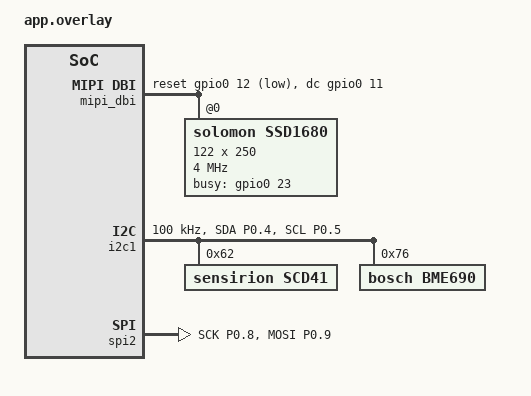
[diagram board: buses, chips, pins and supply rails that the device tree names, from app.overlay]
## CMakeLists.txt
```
cmake_minimum_required(VERSION 4.00)

set(BOARD nrf7002dk/nrf5340/cpuapp) # can be passed as CLI arg -b to west

find_package(Zephyr REQUIRED HINTS $ENV{ZEPHYR_BASE})
project(application)

target_sources(app PRIVATE
    src/wifictl.cpp
    src/sockets.cpp
    src/context.cpp
    src/util.cpp
    src/wifictl.cpp
    src/bme690.cpp
    src/scd41.cpp
    src/main.cpp
)
```

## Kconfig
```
# Copyright 2025 NXP
# SPDX-License-Identifier: Apache-2.0

mainmenu "Network wifi sta_mode application"

config WIFI_SAMPLE_SSID
	string "SSID of the target AP"
	help
	  SSID of the access point to connect to in station mode.
	  For example: "TARGET-AP"

config WIFI_SAMPLE_PSK
	string "Pre-shared key for target AP"
	help
	  WPA2 password used to connect to the target AP.
	  For example: "PSK"

source "Kconfig.zephyr"
```

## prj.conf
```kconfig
# Wi-Fi Configuration
CONFIG_WIFI=y
CONFIG_WIFI_NM=y
CONFIG_WIFI_USAGE_MODE_STA_AP=y

# Network Configuration
CONFIG_NET_CONFIG_AUTO_INIT=n
CONFIG_NET_CONNECTION_MANAGER=y
CONFIG_NET_DHCPV4=y
CONFIG_NET_DHCPV4_SERVER=y
CONFIG_NET_IF_MAX_IPV4_COUNT=2
CONFIG_NET_IF_MAX_IPV6_COUNT=2
CONFIG_NET_IPV4=y
CONFIG_NET_L2_ETHERNET=y
CONFIG_NET_L2_WIFI_MGMT=y
CONFIG_NET_MGMT=y
CONFIG_NET_MGMT_EVENT=y
CONFIG_NET_MGMT_EVENT_INFO=y
CONFIG_NET_MGMT_EVENT_QUEUE_SIZE=10
CONFIG_NET_MGMT_EVENT_STACK_SIZE=4096
CONFIG_NET_PKT_RX_COUNT=16
CONFIG_NET_PKT_TX_COUNT=16
CONFIG_NET_SOCKETS_SERVICE_STACK_SIZE=4096
CONFIG_NET_TCP=y
CONFIG_NET_UDP=y
CONFIG_NETWORKING=y

# BME*** & SCD*** need those
CONFIG_I2C=y
CONFIG_GPIO=y
###CONFIG_SENSOR=y
###CONFIG_SCD4X=y
###CONFIG_BME690=y
CONFIG_CBPRINTF_FP_SUPPORT=y
CONFIG_I2C_SHELL=y

# LOG Configuration
CONFIG_NET_LOG=y
CONFIG_NET_DHCPV4_SERVER_LOG_LEVEL_DBG=y

# Enable display
CONFIG_SPI=y
CONFIG_DISPLAY=y
CONFIG_SSD16XX=y

# Enable Display Subsystem
CONFIG_DISPLAY=y

# Enable SSD16xx driver
CONFIG_SSD16XX=y

CONFIG_MIPI_DBI=y
CONFIG_MIPI_DBI_SPI=y

# CONFIG_CPLUSPLUS=y
CONFIG_HTTP_CLIENT=y

CONFIG_WEBSOCKET_CLIENT=y
```

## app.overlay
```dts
&pinctrl {
    i2c1_default: i2c1_default {
        group1 {
            psels = <NRF_PSEL(TWIM_SDA, 0, 4)>,
                    <NRF_PSEL(TWIM_SCL, 0, 5)>;
            bias-pull-up; 
        };
    };

    i2c1_sleep: i2c1_sleep {
        group1 {
            psels = <NRF_PSEL(TWIM_SDA, 0, 4)>,
                    <NRF_PSEL(TWIM_SCL, 0, 5)>;
            low-power-enable;
        };
    };

    spi2_default: spi2_default {
        group1 {
            psels = <NRF_PSEL(SPIM_SCK, 0, 8)>,
                    <NRF_PSEL(SPIM_MOSI, 0, 9)>;
        };
    };

    spi2_sleep: spi2_sleep {
        group1 {
            psels = <NRF_PSEL(SPIM_SCK, 0, 8)>,
                    <NRF_PSEL(SPIM_MOSI, 0, 9)>;
            low-power-enable;
        };
    };
};

&i2c1 {
    compatible = "nordic,nrf-twim";
    status = "okay";
    clock-frequency = <I2C_BITRATE_STANDARD>;
    pinctrl-0 = <&i2c1_default>;
    pinctrl-1 = <&i2c1_sleep>;
    pinctrl-names = "default", "sleep";

    scd41: scd41@62 {
        compatible = "sensirion,scd41";
        reg = <0x62>;
        label = "SCD41";
        mode = <0>; // Normal periodic measurement
        status = "okay";
    };

    bme690: bme690@76 {
        compatible = "bosch,bme690";
        reg = <0x76>;
        label = "BME690";
// Single TPHG cycle is performed. Sensor automatically returns to sleep mode.
// Gas sensor heater only operates during gas measurement.
        mode = <1>;
        status = "okay";
    };
};


&spi2 {
    compatible = "nordic,nrf-spim";
    status = "okay";
    pinctrl-0 = <&spi2_default>;
    pinctrl-1 = <&spi2_sleep>;
    pinctrl-names = "default", "sleep";

    cs-gpios = <&gpio0 10 GPIO_ACTIVE_LOW>;
};

/ {
    aliases {
        display-controller = &ssd1680;
    };
    chosen {
        zephyr,display = &ssd1680;
    };

    mipi_dbi {
        compatible = "zephyr,mipi-dbi-spi";
        spi-dev = <&spi2>;

        dc-gpios = <&gpio0 11 GPIO_ACTIVE_HIGH>;
        reset-gpios = <&gpio0 12 GPIO_ACTIVE_LOW>;

        #address-cells = <1>;
        #size-cells = <0>;

        ssd1680: ssd1680@0 {
            compatible = "solomon,ssd1680";
            reg = <0>;
            mipi-max-frequency = <4000000>;

            busy-gpios = <&gpio0 23 GPIO_ACTIVE_HIGH>;

            width = <122>;
            height = <250>;
            tssv = <0x80>;
            rotation = <0>;
        };
    };
};
```

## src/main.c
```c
#include "wifictl.h"
#include <zephyr/kernel.h>

//K_THREAD_DEFINE (name, stack_size, entry, p1, p2, p3, prio, options, delay )
K_THREAD_DEFINE (wifictl_id, 4096, wifictl, 1, NULL, NULL, 7, 0, K_TICKS_FOREVER);

int main(void)
{
    int s = wifictl (1);

    k_thread_start (wifictl_id);
	return 0;
}
```

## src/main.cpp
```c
#include "wifictl.hpp"
#include "context.hpp"

#include <zephyr/kernel.h>

#include <stdio.h>
#include <string.h>

#include "net_thread.hpp"
#include "static_string.h"

//K_THREAD_DEFINE (name, stack_size, entry, p1, p2, p3, prio, options, delay )
//K_THREAD_DEFINE (bme690_id, 4096, sys::sensor::BME690::thread, NULL, NULL, NULL, 7, 0, K_TICKS_FOREVER);
K_THREAD_DEFINE (wifictl_id, 4096, sys::wifi::thread, 1, NULL, NULL, 7, 0, K_TICKS_FOREVER);
K_THREAD_DEFINE (net_id, 4096, sys::net::thread, 1, NULL, NULL, 7, 0, K_TICKS_FOREVER);

int main(void)
{
    auto& ctx_wifi = sys::ctx ().wifi_data ();

    char new_ssid[] = "ASUS_boneyard";
    char new_passwd[] = "publicstaticvoidmainstringargs";

    memcpy (ctx_wifi.ssid, new_ssid, sizeof (new_ssid));
    memcpy (ctx_wifi.psk, new_passwd, sizeof (new_passwd));

    char server[] = "10.0.10.143";
    int port = 1337;

    memcpy (sys::ctx().net_data ().server, server, sizeof (server));
    sys::ctx().net_data ().port = port;

    k_thread_start (wifictl_id);
    k_thread_start (net_id);
    
	return 0;
}
```

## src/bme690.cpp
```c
/*
 * AirObserver
 * bme690.cpp
 * Created by Matias Villa
 *
 */

#include <stdint.h>
#include <zephyr/device.h>
#include <zephyr/kernel.h>
#include <zephyr/drivers/i2c.h>

#include "bme690.hpp"
#include "util.hpp"

#include "context.hpp"
#define I2C0_NODE DT_NODELABEL(bme690)


namespace sys {
namespace sensor {
namespace BME690 {

    measurement_steps current_meas_step;// mini statemachine for heating sensor 
    struct fetch_flag gas_was_fetched;  // bool flags to verify succesful i2c transactions

    static uint8_t gas_pool_idx;    // index for elements in gas queue 
    static size_t step_idx = 0;     // index for elements in the registers array
    static int retry_count = 0;     // index for i2c retries when transaction fails on fetch work handler 
    static int meas_retry_count = 0;// index for i2c retries when transaction fails on measurement work handler

    struct context bme_ctx{
        .bme_dev = I2C_DT_SPEC_GET(I2C0_NODE),
    };

    context& ctx () {
        return bme_ctx;
    }
    
    void fetch_work_handler(struct k_work *work) {
        // FETCH REGISTERS VALUES NECESSARY TO PERFORM SENSOR HEATING AND CALIBRATION
        auto &c = sys::sensor::BME690::ctx();
        auto &c_util = sys::util::ctx ();

        struct gas_fetched steps[] = {
            { BME690::REGISTERS::PAR_G1, &c.gas_calib.par_g1, 
                sizeof(c.gas_calib.par_g1), &gas_was_fetched.par_g1 },
            { BME690::REGISTERS::PAR_G2, &c.gas_calib.par_g2, 
                sizeof(c.gas_calib.par_g2), &gas_was_fetched.par_g2 },
            { BME690::REGISTERS::PAR_G3, &c.gas_calib.par_g3, 
                sizeof(c.gas_calib.par_g3), &gas_was_fetched.par_g3 },
            { BME690::REGISTERS::RES_HEAT_RANGE, &c.gas_calib.raw_range, 
                sizeof(c.gas_calib.raw_range), &gas_was_fetched.res_range },
            { BME690::REGISTERS::RES_HEAT_VALUE, &c.gas_calib.raw_val, 
                sizeof(c.gas_calib.raw_val), &gas_was_fetched.res_heat},

        };

        struct gas_fetched *s = &steps[step_idx];

        int rc = i2c_write_read_dt(&c.bme_dev, &s->reg, 1, s->dest, s->len);

        if (rc == 0) {
            // -> has higher precedence than *(dereference)
            *s->fetched_flag = true;
            step_idx++;
            retry_count = 0;
        } else {
            printk("I2C error on step %u (reg 0x%02x): [%d]\n", step_idx, s->reg, rc);
            retry_count++;
            if (retry_count >= BME690::I2C_RETRY) {
                // -> has higher precedence than *(dereference)
                *s->fetched_flag = false;    // give up on this one, move on so we don't hang forever
                step_idx++;
                retry_count = 0;
            }
            // else: step_idx unchanged -> same step gets retried on next schedule
        }

        if (step_idx < ARRAY_SIZE(steps)) {
            k_work_schedule(&c_util.gas_work, K_MSEC(sys::util::I2C_WAIT_MS));
        } else {
            c.gas_calib.res_range = (c.gas_calib.raw_range >> 4) & 0x03;    // bits <5:4>
            c.gas_calib.res_heat  = c.gas_calib.raw_val;
            step_idx = 0;    // reset for next fetch cycle
            k_sem_give(&c_util.sem_gas);
        }
    }

    void configure_oversampling(void) {
        auto &c = sys::sensor::BME690::ctx ();
        // configure sensor oversampling rate for gas sensor
        uint8_t ctrl_meas_val[2] = {BME690::REGISTERS::CTRL_MEAS, BME690::REGISTERS::CTRL_MEAS_OSRS};
        i2c_write_dt(&c.bme_dev, ctrl_meas_val, sizeof(ctrl_meas_val));
    }

    void soft_reset(void) {
        auto &c = sys::sensor::BME690::ctx ();
        // PERORM A SOFTWARE RESET
        uint8_t buf[2] = {BME690::REGISTERS::RESET_REG, BME690::REGISTERS::RESET_CMD};
        i2c_write_dt(&c.bme_dev, buf, sizeof(buf));
    }

    void calc_res_heat(void) {
        // Formula provided by Bosch in the datasheet
        // Calculate the values necessary for sensor calibration
        // Heat resistance calculation
        auto &c = sys::sensor::BME690::ctx ();
        double var1         = ((double)c.gas_calib.par_g1 / 16.0) + 49.0;
        double var2         = (((double)c.gas_calib.par_g2 / 32768.0) * 0.0005) + 0.00235;
        double var3         = (double)c.gas_calib.par_g3 / 1024.0;
        double var4         = var1 * (1.0 + (var2 * (double)BME690::REGISTERS::TARGET_TEMP));
        double var5         = var4 + (var3 * (double)BME690::REGISTERS::AMB_TEMP);
        double res_heat_x = (uint8_t)(3.4 * ((var5 * (4.0 / (4.0 + (double)c.gas_calib.res_range))) *
                                    (1.0 / (1.0 + (double)c.gas_calib.res_heat * 0.002))) - 25);
        // sensor is calibrated
        c.gas_calib.is_calib = res_heat_x;
    }

    void measurement_work_handler(struct k_work *measurements) {
        // HEAT GAS SENSOR
        // auto &c = ctx();
        auto& c = sys::sensor::BME690::ctx ();
        auto& util_c = sys::util::ctx();

        uint8_t gas_wait_0[2] = {BME690::REGISTERS::GAS_WAIT_0, 0x59};
        uint8_t res_heat_0[2] = {BME690::REGISTERS::RES_HEAT_0, (uint8_t)c.gas_calib.is_calib};
        uint8_t ctrl_gas_1     =  BME690::REGISTERS::CTRL_GAS_1;
        uint8_t ctrl_meas      =  BME690::REGISTERS::CTRL_MEAS;
        uint8_t run_gas;
        uint8_t set_mode;
        int rc = 0;

        switch (current_meas_step) {

        case GAS_WAIT_X:
            rc = i2c_write_dt(&c.bme_dev, gas_wait_0, sizeof(gas_wait_0));
            if (rc != 0) {
                printk("Error writing gas_wait_0: [%d]\n", rc);
                if (++meas_retry_count < BME690::I2C_RETRY) {
                    k_work_schedule(&util_c.meas_steps, K_MSEC(sys::util::I2C_WAIT_MS));
                    return;    // retry same step
                }
                printk("Giving up on gas_wait_0 after %d retries\n", BME690::I2C_RETRY);
            }
            meas_retry_count  = 0;
            current_meas_step = RES_HEAT_X;
            k_work_schedule(&util_c.meas_steps, K_MSEC(sys::util::I2C_WAIT_MS));
            break;

        case RES_HEAT_X:
            rc = i2c_write_dt(&c.bme_dev, res_heat_0, sizeof(res_heat_0));
            if (rc != 0) {
                printk("Error writing res_heat_0: [%d]\n", rc);
                if (++meas_retry_count < BME690::I2C_RETRY) {
                    k_work_schedule(&util_c.meas_steps, K_MSEC(sys::util::I2C_WAIT_MS));
                    return;
                }
                printk("Giving up on res_heat_0 after %d retries\n", BME690::I2C_RETRY);
            }
            meas_retry_count  = 0;
            current_meas_step = RUN_GAS;
            k_work_schedule(&util_c.meas_steps, K_MSEC(sys::util::I2C_WAIT_MS));
            break;

        case RUN_GAS:
            rc = i2c_write_read_dt(&c.bme_dev, &ctrl_gas_1, 1, &run_gas, 1);
            if (rc != 0) {
                printk("Error reading ctrl_gas_1: [%d]\n", rc);
                if (++meas_retry_count < BME690::I2C_RETRY) {
                    k_work_schedule(&util_c.meas_steps, K_MSEC(sys::util::I2C_WAIT_MS));
                    return;
                }
                printk("Giving up on ctrl_gas_1 after %d retries\n", BME690::I2C_RETRY);
                meas_retry_count  = 0;
                current_meas_step = NB_CONV;    // don't hang forever, but run_gas bit is unset
                k_work_schedule(&util_c.meas_steps, K_MSEC(sys::util::I2C_WAIT_MS));
                break;
            }
            run_gas &= ~0x0F;      // clear nb_conv index to 0
            run_gas |= (1 << 5);  // set run_gas bit
            {
                uint8_t buf[2] = {BME690::REGISTERS::CTRL_GAS_1, run_gas};
                i2c_write_dt(&c.bme_dev, buf, sizeof(buf));
            }
            meas_retry_count  = 0;
            current_meas_step = NB_CONV;
            k_work_schedule(&util_c.meas_steps, K_MSEC(sys::util::I2C_WAIT_MS));
            break;

        case NB_CONV:
            rc = i2c_write_read_dt(&c.bme_dev, &ctrl_meas, 1, &set_mode, 1);
            if (rc != 0) {
                printk("Error reading ctrl_meas register: [%d]\n", rc);
                if (++meas_retry_count < BME690::I2C_RETRY) {
                    k_work_schedule(&util_c.meas_steps, K_MSEC(sys::util::I2C_WAIT_MS));
                    return;
                }
                printk("Giving up on ctrl_meas after %d retries\n", BME690::I2C_RETRY);
                meas_retry_count = 0;
                k_sem_give(&util_c.sem_meas);    // don't leave bme690_thread blocked forever
                break;
            }
            set_mode &= ~0x03;    // Clear bits 1:0
            set_mode |= 0x01;     // Set Forced Mode (0b01)
            {
                uint8_t buf2[2] = {BME690::REGISTERS::CTRL_MEAS, set_mode};
                i2c_write_dt(&c.bme_dev, buf2, sizeof(buf2));
            }
            meas_retry_count = 0;
            k_sem_give(&util_c.sem_meas);
            break;
        }
    }

    bool new_gas_readout(void) {
        // IF HEAT_STAB_R IS EQUAL TO 1, SENSOR IS READY TO MEASURE GAS IN ENVIROEMENT
        auto &c = sys::sensor::BME690::ctx ();
        uint8_t gas_r_lsb = 0x2D;
        uint8_t heat_stab_r;

        int rc = i2c_write_read_dt(&c.bme_dev, &gas_r_lsb, 1, &heat_stab_r, 1);

        if (rc != 0) {
            printk("Error writing to register\n");
            return false;
        } else {
            if ((heat_stab_r & 16) != 16) {
                // CHECK IF VALUE OF BIT NUMBER 4 IS 1, IF 0 THERE IS NO VALID DATA.
                printk("There is no valid data. Value of bit 4 is: 0\n");
                return false;
            }
            //printk("Sensor ready to perform readings!\n");
            c.curated_gas.heat_stab_reg = heat_stab_r;
            return true;
        }
    }

    void parse_gas_readings(void) {
        // CONVERT GAS RESISTANCE MEASUREMENT TO OHMS.
        // ELI5 EXPLANATION: THE GREATER THE RESISTANCE, CLEANER THE AIR.
        // YET TO IMPLEMENT A MORE INTUITIVE READING OF GAS IN ENVIROEMENT.
        auto &c = sys::sensor::BME690::ctx ();

        uint8_t  msb_reg = 0x2C;
        uint8_t  lsb_reg = 0x2D;
        uint8_t  gas_r_msb;
        uint8_t  gas_r_lsb;
        uint16_t gas_adc;
        uint8_t  gas_range;

        int err = i2c_write_read_dt(&c.bme_dev, &msb_reg, 1, &gas_r_msb, 1);
        if (err != 0) printk("Error reading gas_r_msb\n");

        err = i2c_write_read_dt(&c.bme_dev, &lsb_reg, 1, &gas_r_lsb, 1);
        if (err != 0) printk("Error reading gas_r_lsb\n");

        gas_adc    = ((uint16_t)gas_r_msb << 2) | (gas_r_lsb >> 6);    // "Lives" on bit <7:6>
        gas_range = gas_r_lsb & 0x0F;                                          // "Lives" on bits <3:0>

        c.curated_gas.adc_gas    = gas_adc;
        c.curated_gas.range_gas = gas_range;

        // FORMULA PROVIDED BY BOSCH DATASHEET ->
        // CONVERT ANALOG READS INTO OHMS
        uint32_t var1 = UINT32_C(262144) >> gas_range;
        int32_t  var2 = (int32_t)gas_adc - INT32_C(512);
        var2 *= INT32_C(3);
        var2 = INT32_C(4096) + var2;
        float gas_res = 1000000.0f * (float)var1 / (float)var2;
        c.gas_calib.gas_ohms = gas_res;
    }
    
    void gas_sample_push(float value) {
        // PUSH GAS RESISTANCE FUNCTION TO ITS QUEUE 
        auto &c = sys::sensor::BME690::ctx (); 
        auto *item = &c.gas_pool[gas_pool_idx];
        gas_pool_idx = (gas_pool_idx + 1) % BME690::GAS_TOTAL_QUE;

        item->value = value;
        k_queue_append(&c.gas_queue, item);
    }

    float avg_gas_measured(struct k_queue *gas_que) {
        // RETURNS THE AVERAGE OF 8 SAMPLES 
        float sum = 0.0f;
        int count = 0;

        while (!k_queue_is_empty(gas_que)) {
            void *data = k_queue_get(gas_que, K_MSEC(sys::util::QUE_DELAY));
            if (data == NULL) {
                break;
            }
            auto *item = static_cast<gas_que_item *>(data);
            sum += item->value;
            count++;
        }

        return (count > 0) ? (sum / count) : 0.0f;
    }
    
    void run_bme690_readings(void) {
        // EXPERIMENTAL GAS SENSOR SEQUENCE (FIELD 0)
        current_meas_step = GAS_WAIT_X;

        auto &ctx_util = sys::util::ctx ();
        
        // SCHEDULE WORKS
        k_work_schedule(&ctx_util.gas_work, K_NO_WAIT);
        k_work_schedule(&ctx_util.meas_steps, K_NO_WAIT);
        
        k_sem_take(&ctx_util.sem_gas, K_FOREVER);
        k_sem_take(&ctx_util.sem_meas, K_FOREVER);

        calc_res_heat();

        configure_oversampling();
    }
      
    void thread (void) 
    {
        // THREAD FOR GAS SENSOR AKA TASK IN FREERTOS

        // INITIALIZE REFERENCE TO CONTEXT OBJECT 
        auto &c = sys::sensor::BME690::ctx ();
        auto &util_context = sys::util::ctx (); // INITIALIZE REFERENCE TO UTIL CONTEXT OBJECT
        uint8_t avg_index = 0;    // INDEX FOR TAKING THE AVERAGE OF THE SAMPLES
        
        // WORKQUEUE
        k_work_init_delayable(&util_context.gas_work, BME690::fetch_work_handler);
        k_work_init_delayable(&util_context.meas_steps, BME690::measurement_work_handler);
        // INITITALIZE QUEUE 
        k_queue_init(&c.gas_queue);                  
        // SEMAPHORES
        k_sem_init(&util_context.sem_gas, 0, 1);  // INITIALIZE SEMAPHORE FOR REGISTER FETCHING 
        k_sem_init(&util_context.sem_meas, 0, 1); // INITIALIZE SEMAPHORE FOR HEATING SENSOR STEPS
        
        while (1){
            // lock the mutex to perform reaings and take the average of the samples
            k_mutex_lock(&util_context.air_mutex, K_FOREVER);

            BME690::run_bme690_readings();

            bool is_ready = BME690::new_gas_readout(); // check that there is a valid gas reading
            
            if (is_ready) {
                BME690::parse_gas_readings();
                BME690::gas_sample_push(c.gas_calib.gas_ohms);
                avg_index++;
                if (avg_index == BME690::GAS_TOTAL_QUE){
                    // PRINT THE RESISTANCE MEASURED TO CONSOLE AND RESET THE INDEX
                    float avg = BME690::avg_gas_measured(&c.gas_queue);
                    printk("Gas resistance level is: [%.3f] ohms\n", (double)avg);
                    avg_index = 0;
                }
            } 
            else printk("Measurement not ready this cycle, skipping.\n");

            k_mutex_unlock(&util_context.air_mutex); // UNLOCK MUTEX FOR SCD41 SENSOR
        }
    }
} // namespace BME690
} // namespace sensor
} // namespace sys
```

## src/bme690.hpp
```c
/*
 *  AirObserver 
 *  bme690.hpp
 *  Created by Matias Villa
 *
*/
#ifndef BME690_HPP
#define BME690_HPP

#include <stdint.h>
#include <stdbool.h>
#include "zephyr/drivers/i2c.h"
#include "zephyr/kernel.h"

namespace sys {
namespace sensor {
namespace BME690 {

    namespace REGISTERS
    {
        // REGISTER ADDRESSES FOR CALCULATING GAS STUFF
        constexpr uint8_t PAR_G1         = 0xED; // CALIBRATION PARAMETER 
        constexpr uint8_t PAR_G2         = 0xEC; // CALIBRATION PARAMETER
        constexpr uint8_t PAR_G2_B       = 0xEC; // CALIBRATION PARAMETER
        constexpr uint8_t PAR_G3         = 0xEE; // CALIBRATION PARAMETER
        constexpr uint8_t RES_HEAT_RANGE = 0x02; // HEATER RANGE IN BIT <5:4>
        constexpr uint8_t RES_HEAT_VALUE = 0x00; // HEATER RESISTANCE CORRECTION FACTOR
        constexpr uint8_t AMB_TEMP       = 26;   // ESTIMATED ENVIROMENTAL TEMPERATURE
        constexpr uint8_t TARGET_TEMP    = 200;  // TEMPERATURE TO HEAT SENSOR (CELSIUS)
        constexpr uint8_t CTRL_MEAS      = 0x74; // SELECT SENSOR POWER MODE 
        constexpr uint8_t CTRL_GAS_1     = 0x71; // bit = run_gas, bit <3:0> = nb_conv 
        constexpr uint8_t RES_HEAT_0     = 0x5A; // TARGET HEATER RESISTANCE
        constexpr uint8_t GAS_WAIT_0     = 0x64; // SETS THE WAIT TIME FOR GAS MEASUREMENT IN SECONDS 
        constexpr uint8_t RESET_REG      = 0xE0; // SOFTWARE RESET REGISTER 
        constexpr uint8_t RESET_CMD      = 0xB6; // SOFTWARE RESET COMMAND 
        constexpr uint8_t CTRL_MEAS_OSRS = 0x24; // TEMP X1, PRESSURE X1, MODE BITS UNTOUCHED HERE 
        constexpr uint8_t GAS_ADC        = 0x2D; // GAS ADC DATA REGISTER 
    }

    constexpr uint8_t I2C_RETRY     = 3; // RETRY UPON UNSUCCESFUL I2C TRANSACTION
    constexpr uint8_t GAS_TOTAL_QUE = 8; // SIZE OF QUEUE 

    // GAS INFO STRUCT STORES ALL THE RAW VALUES FETCHED FROM REGISTERS
    struct gas_info {
        uint8_t  par_g1;      // STORE VALUE FROM PARTIAL GAS DATA REGISTER 1
        int16_t  par_g2;      // STORE VALUE FROM PARTIAL GAS DATA REGISTER 2
        int8_t    par_g3;      // STORE VALUE FROM PARTIAL GAS DATA REGISTER 3
        // IS THE DECIMAL VALUE THAT NEEDS TO BE STORED IN REGISTER,
        // WHERE X CORRESPONDS TO THE TEMPERATURE PROFILE NUMBER BETWEEN 0 AND 9
        int8_t   res_heat;    
        uint8_t  res_range;  // HEATER RANGE STORED IN REGISTERED ADDRESS 0x02 <5:4>,
        uint8_t  is_calib;    // IF is_calib == 0 -> SENSOR NOT CALIBRATED, IF is_calib == 1 -> SENSOR IS CALIBRATED
        float    gas_ohms;    // VALUE OF GAS RESISTANCE
        uint8_t  raw_range;
        int8_t   raw_val;
    };
    // VALIDATE THAT EACH REGISTER FROM GAS_INFO GOT THE CORRECT VALUE FROM I2C TRANSACTION

    struct gas_fetched {
        uint8_t  reg;                  // VALUE FROM REGISTER 
        void     *dest;                // POINTER TO VARIABLA THAT WILL HOLD THE VALUE COMING FROM THE REGISTER 
        size_t   len;                  // SIZE OF DATA 
        bool     *fetched_flag;     // TRUE FOR SUCCESFUL I2C TRANSACTION
    };

    struct fetch_flag {
        // FLAGAS FOR SUCCESFUL I2C TRANSACTIONS WHEN FETCHING FROM REGISTERS BEFORE PERFORMING CALIBRATION
        bool par_g1;
        bool par_g2;
        bool par_g3;
        bool res_range;
        bool res_heat;
    };

    // GAS PARSED STORES ALL THE DATA RESULTING FROM CALCULATIONS ON THE RAW REGISTER DATA
    struct gas_parsed {
        uint16_t     adc_gas;             // RAW RESISTANCE OUTPUT DATA 
        uint8_t      range_gas;          // ADC RAMGE OF THE MEASURED GAS RESISTANCE 
        uint8_t      heat_stab_reg;     // IF HEAT_STAB_R IS ZERO, IT INDICATES THAT EITHER THE HEATING TIME WAS NOT ENOUGH TO ALLOW THE SENSOR TO REACH TO CONFIGURED TARGET TEMPERATURE OR THAT THE TARGET TEMPERATURE WAS TOO HIGH FOR THE SENSOR TO REACH.
    };

    struct gas_que_item {
        void *reserved;
        float value;
    };

    typedef enum {
        GAS_WAIT_X,
        RES_HEAT_X,
        RUN_GAS,
        NB_CONV,
    } measurement_steps;
    
    // NOTE: figure out a way to make reads/writes here thread-safe(somewhat)
    // maybe use std::atomic, but params here are not really memcpy:able
    struct context {
        i2c_dt_spec     bme_dev;        // I2C 
        gas_info        gas_calib;      // CALIBRATION VALUES 
        gas_parsed      curated_gas;    // VALUES AFTER CALCULATIONS 
        k_queue         gas_queue;      // QUUEUE FOR GAS RESISTANCE READINGS 
        gas_que_item    gas_pool[BME690::GAS_TOTAL_QUE];
    };

    context& ctx(void);

    void fetch_gas_values(void); // FETCH VALUES FROM REGISTERS TO START CALCULATIOS AND CONVERSIONS FOR MEASURING GAS IN ENVIROMENT
    void calc_res_heat(void); // CALCULATE HEAT RESISTANCE 
    void start_gas_measurement(void); // PERFORM GAS MEASUREMENTS
    void soft_reset(void); // PERFORM A SOFT RESET, HAS THE SAME EFFECT AS POWER-ON RESET
    void configure_oversampling(void); // READS MULTIPLE SAMPLES AND AVERAGES THEM TO IMPROVE MEASUREMENT STABILITY. 
    void parse_gas_readings(void); // CONVERT RAW ADC GAS DATA TO OHMS
    void run_bme690_readings(void); // READ RESISTANCE DATA ALREADY CONVERTED TO OHMS 
    void fetch_work_handler(struct k_work *work);
    void measurement_work_handler(struct k_work *measurements);
    bool new_gas_readout(void); // CHECK IF THERE IS A NEW VALID READ
    void gas_sample_push(float gas_item);
    float avg_gas_measured(struct k_queue *gas_queue);
    void thread (void);
} // namespace BME690
} // namespace sensor
} // namespace sys

#endif // BME690_HPP
```

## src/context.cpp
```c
#include "context.hpp"
#include "bme690.hpp"
#include "util.hpp"

namespace sys {
static system_state sys_ctx;

// this method exists only for controlling system_state.
system_state& ctx ()
{
    return sys_ctx;
}

} // sys

// auto& c = sys::ctx ();
// c.wifi_data.psk = echo;
// c.bme_data.register = bravo;
```

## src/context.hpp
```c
#pragma once

#include "bme690.hpp"
#include "scd41.hpp"
#include "util.hpp"
#include "wifictl.hpp"
#include "net_thread.hpp"

// made by Don Pablo

namespace sys {

// I want to have a kind of singleton, which is simple.
// So I could mark it static and go on with my life.
// manager

// system_state exists for managing system context.
struct system_state {
    sensor::BME690::context& bme_data ()
    {
        return sensor::BME690::ctx ();
    }

    sensor::SCD41::context& scd_data ()
    {
        return sensor::SCD41::ctx ();
    }

    util::context& util_data ()
    {
        return util::ctx ();
    }

    wifi::context& wifi_data ()
    {
        return wifi::ctx ();
    }

    net::context& net_data ()
    {
        return net::ctx ();
    }
};

system_state& ctx ();
} // namespace sys
```

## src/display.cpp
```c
#include <zephyr/kernel.h>
#include <zephyr/device.h>
#include <zephyr/drivers/display.h>
#include <zephyr/devicetree.h>

#include <zephyr/logging/log.h>


LOG_MODULE_REGISTER (display, LOG_LEVEL_INF);

namespace sys {
namespace display {

// NOTE: now, worse is better, make something simple,
// without going crazy, like always.
context& ctx (void)
{
    return display_ctx;
}

void thread (void)
{
    // Fetch the device binding using the devicetree alias
    const struct device *display_dev = DEVICE_DT_GET(DT_ALIAS(display_controller));

    if (!device_is_ready(display_dev)) {
        LOG_ERR("Display device %s is not ready!", display_dev->name);
        return -EIO;
    }

    LOG_INF("SSD1680 Display successfully initialized via SPI.");
    
    // Optional: Blank or clear screen capabilities can go here
    display_blanking_off(display_dev);

    return 0;
}
} // display
} // sys
```

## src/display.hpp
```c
#include <zephyr/kernel.h>
#include <zephyr/device.h>
#include <zephyr/drivers/display.h>

#include <zephyr/logging/log.h>

namespace sys {
namespace display {

context& ctx (void);

} // display
} // sys
```

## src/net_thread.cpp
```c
#include "context.hpp"
#include "sockets.hpp"
#include "net_thread.hpp"

#include <zephyr/logging/log.h>
#include <zephyr/kernel.h>

#include <zephyr/posix/unistd.h>
#include <zephyr/posix/sys/select.h>


LOG_MODULE_REGISTER(transport_thread, LOG_LEVEL_DBG);


namespace sys {
namespace net {

static context net_ctx;
context& ctx (void)
{
    return net_ctx;
}

// thread should communicate with a server!
// send data, expect something in return
// say, send data from sensors
void thread ()
{
    auto& ctx_wifi = sys::ctx ().wifi_data ();
    auto& ctx_net = sys::net::ctx ();

    // wait for wifi connectivity.
    while (ctx_wifi.status != NET_EVENT_WIFI_CONNECT_RESULT)
    {
        k_sleep (K_MSEC (1000));  // sleep for a second
        LOG_INF ("waiting for wifi interface");
    }

    // switch if no server is defined
    while (ctx ().server == nullptr)
    {
        LOG_INF ("server is not defined in net_ctx.");
        k_sleep (K_MSEC (1000));
    }

    sys::transport::connection socket;
    int status = socket.tcp_open (ctx().server, ctx().port );
    while (status)
    {
        status = socket.tcp_open (ctx().server, ctx().port );
        k_sleep (K_MSEC(1000));
    }

    LOG_INF ("socket %d started for %s:%d", status, ctx().server, ctx().port);

    socket.ws_open (ctx().server, ctx().port);

    sys::static_string <32> buf;
    fd_set readfds;

    auto& sock = socket.local_context.sock;

// example of using select () from POSIX
#if 0
    while (1)
    {
        FD_ZERO(&readfds);
        FD_SET(sock, &readfds);

        struct timeval timeout = {
            .tv_sec = 1,
            .tv_usec = 0,
        };
#endif
#if 0
        int ret = select(sock + 1, &readfds, NULL, NULL, &timeout);
        size_t bytes = 0;
        k_sleep (K_MSEC(50));

        if (ret > 0 && FD_ISSET(sock, &readfds)) {
            buf.clear ();

            // Data is available
            LOG_INF ("select: %d, reading the data ...", ret);
            bytes = socket.ws_recv_all (reinterpret_cast <uint8_t *>(buf.data()), buf.capacity());

            printf ("RECV bytes: %d\n", bytes);
            printf ("RECV: %s\n", (const char *)buf.c_str ());

        } else if (ret == 0) {
            // Timeout
        } else {
            // error
        }

        // try restarting the TCP connection
        if (!socket.local_context.tcp_open)
        {
            LOG_ERR ("tcp socket was closed %d. try re-open ..." , socket.local_context.sock);
            socket.ws_open (ctx().server, ctx().port );

            while (!socket.local_context.ws_open)
            {
                k_sleep (K_MSEC(1000));
                socket.tcp_open (ctx().server, ctx().port );
            }
        }

        k_sleep (K_MSEC(50));
#endif
    }
    sys::static_string <32> ws_payload ("{\"echo\":\"bravo\"}");
    socket.ws_send ((void *)ws_payload.c_str(), ws_payload.size());

    sys::static_string <64> resp;
    socket.ws_recv_all (resp.data(), resp.capacity ());

    printf ("RECV: %s\n", resp.c_str ());
}

} // net
} // sys
```

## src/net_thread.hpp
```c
#pragma once

#include "context.hpp"
#include "sockets.hpp"

namespace sys {
namespace net {
    struct context {

        // zero-initialize
        char server[64] = {}; 
        int port = 0;
    };

    context& ctx (void);

    void thread ();
}   // net 
}   // sys
```

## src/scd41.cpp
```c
/*
 *  AirObserver 
 *  scd41.cpp
 *  Created by Matias Villa
 *
 *  INITIAL TESTING OF THE SCD41: CO2, TEMPERATURE AND HUMIDITY SENSOR.
*/

#include <zephyr/device.h>
#include <zephyr/kernel.h>
#include <zephyr/drivers/sensor.h>
#include <zephyr/drivers/i2c.h>
#include <zephyr/logging/log.h>
#include <zephyr/sys/__assert.h>
#include <zephyr/sys/byteorder.h>
#include <zephyr/sys/crc.h>
#include <zephyr/devicetree.h>
#include <zephyr/drivers/sensor/scd4x.h>
#include "scd41.hpp"
#include "util.hpp"

namespace sys {
namespace sensor {
namespace SCD41 {

struct recalib_values   recalibration;
step_readings           scd41_steps;

static context scd_ctx;
const device * context::dev = DEVICE_DT_GET(DT_NODELABEL(scd41));

// FUNCTIONS
context& ctx (void)
{
    return scd_ctx;
}

void queue_sample_push(int item_queue, struct que_item *pool, uint8_t *idx, struct k_queue *que){
    // PUSH SAMPLE MEASURED TO QUEUE 
    struct que_item *item = &pool[*idx];
    *idx = (*idx + 1) % QUE_SIZE; // MAKE SURE THAT ONLY 8 SAMPLES ARE PUSHED TO THE QUEUE 

    item->value = item_queue;
    k_queue_append(que, item);
}

float avg_measured(struct k_queue *que) {
    // RETURNS THE AVERAGE OF 8 SAMPLES
    float sum = 0.0f;
    int count = 0;

    while (!k_queue_is_empty(que)) {
        void *data = k_queue_get(que, K_MSEC(sys::util::QUE_DELAY));
        if (data == NULL) {
            break;
        }
//       struct que_item *item = (struct que_item *)data;
        auto *item = static_cast<que_item *>(data);
        sum += item->value;
        count++;
    }

    return (count > 0) ? (sum / count) : 0.0f;
}

bool force_scd41_recalib(void){

    // Force recalibration and put the device to sleep for 3 minutes
    auto &c = sys::sensor::SCD41::ctx ();
    recalibration.target_ppm = 430; // 430 ppm as target value for calibration
    printk("Forced recalibration about to start. Duration time: 3 minutes.\n"); 
    k_sleep(K_MINUTES(3));
    // Stop measurement before triggering forced recalibration 
    int recalib = scd4x_forced_recalibration(c.dev, recalibration.target_ppm, &recalibration.correction);
    
    if (recalib == 0){
        printk("Calibration succesfull\n");
        k_sleep(K_MSEC(400)); // wait 400 miliseconds before
        return true;
    }
    else {
        printk("Forced calibration failed. Error code [%d]\n", recalib);
        return false;
    }
}

void fetch_scd41_readings(struct k_work *read_scd41){
    // GET THE SAMPLES FROM THE SENSOR
    auto &c = sys::sensor::SCD41::ctx();
    auto &util_c = sys::util::ctx();

    switch (scd41_steps){
        case CO2:
            sensor_channel_get(c.dev, SENSOR_CHAN_CO2, &c.enviroment_data.co2);
            scd41_steps = TEMP;
            k_work_schedule(&util_c.meas_scd41, K_MSEC(sys::util::I2C_WAIT_MS));
            break;

        case TEMP:
            sensor_channel_get(c.dev, SENSOR_CHAN_AMBIENT_TEMP, &c.enviroment_data.temp);
        scd41_steps = HUMIDITY;
            k_work_schedule(&util_c.meas_scd41, K_MSEC(sys::util::I2C_WAIT_MS));
            break;

        case HUMIDITY:
            sensor_channel_get(c.dev, SENSOR_CHAN_HUMIDITY, &c.enviroment_data.humidity);
            k_sem_give(&util_c.sem_scd41);
            break;
    }
}

void run_scd41_readings(void){
    auto &util_c = sys::util::ctx();
    scd41_steps = CO2;
    k_work_schedule(&util_c.meas_scd41, K_NO_WAIT);
    k_sem_take(&util_c.sem_scd41, K_FOREVER);

}
   
} // SCD41
} // sensor
} // sys
```

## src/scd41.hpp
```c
/*
 *  AirObserver 
 *  scd41.hpp  
 *  Created by Matias Villa
 *
 *  INITIAL TESTING OF THE SCD41: CO2, TEMPERATURE AND HUMIDITY SENSOR.
*/

#ifndef SCD41_HPP
#define SCD41_HPP

#include <stdbool.h>
#include <stdint.h>
#include <zephyr/drivers/sensor/scd4x.h>

namespace sys {
namespace sensor {
namespace SCD41 {
   constexpr uint8_t RETRY_I2C   = 3;
   constexpr uint8_t QUE_SIZE    = 8;

   struct scd41_readings {
      struct sensor_value co2;
      struct sensor_value temp;
      struct sensor_value humidity;
   };

   struct recalib_values {
      uint16_t correction;
      uint16_t target_ppm;
   };

   struct que_item {
      void *reserved;
      int value;
   };
     
   typedef enum {
      CO2,
      TEMP,
      HUMIDITY
   } step_readings;

   struct context {
      static const device *dev;
      scd41_readings enviroment_data;
      // queues 
      k_queue co2_queue;
      k_queue temp_queue;
      k_queue humid_queue;
      // item queues 
      que_item sample_pool[QUE_SIZE];
      que_item co2_pool[QUE_SIZE];
      que_item temp_pool[QUE_SIZE];
      que_item humid_pool[QUE_SIZE];
   };

   context& ctx (void);
   bool  force_scd41_recalib(void);
   void  fetch_scd41_readings(struct k_work *read_scd41);
   void  run_scd41_readings(void);
   void  queue_sample_push(int item_queue, struct que_item *pool, uint8_t *idx, struct k_queue *que);
   float avg_measured(struct k_queue *que);


} // SCD41
} // sensor
} // sys

#endif // SCD41_H
```

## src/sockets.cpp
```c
#include <zephyr/net/net_ip.h>
#include <zephyr/net/socket.h>
#include <zephyr/net/http/client.h>
#include <zephyr/net/websocket.h>

#include <zephyr/posix/sys/socket.h>
#include <zephyr/posix/unistd.h>
#include <zephyr/posix/arpa/inet.h>
#include <zephyr/posix/sys/select.h>

#include <zephyr/logging/log.h>

//////////////////////////////////////////////////////////////////////////////
// zaebal rugat'sya
#include <zephyr/net/tls_credentials.h>
#include <zephyr/net/websocket.h>
/////////////////////////////////////////////////////////////////////////////

#include "sockets.hpp"
#include "context.hpp"

LOG_MODULE_REGISTER(tcp_sockets, LOG_LEVEL_DBG);

namespace sys {
namespace transport {

static int connect_cb (int sock, struct http_request *req, void *user_data)
{
	LOG_INF("websocket %d for %s connected.", sock, (char *)user_data);
	return 0;
}

// open TCP socket, but do not send anything
int connection::tcp_open (const char *server, int port)
{
    int ret = 0;

    local_context.server = server;
    local_context.port = port;

    socklen_t addr_len = sizeof (remote_addr);
    memset(&remote_addr, 0, addr_len);

    // AF_INET == ipv4, AF_INET6 == ipv6.
    remote_addr.sin_family = AF_INET;
    remote_addr.sin_port = htons(port);  // converts to correct endianness

    // convert address to binary form
    int pton_ret = inet_pton(remote_addr.sin_family, server, &remote_addr.sin_addr);
    if (pton_ret != 1)
    {
        LOG_ERR ("invalid IPv4 address: %s", server);
        return -EINVAL;
    }

    const char *family_str = remote_addr.sin_family == AF_INET ? "IPv4" : "IPv6";
    LOG_INF ("connecting to %s:%s[%d] ...", family_str, server, port);

    local_context.sock = socket (remote_addr.sin_family, SOCK_STREAM, IPPROTO_TCP);
    if (local_context.sock < 0)
    {
        LOG_ERR ("failed to open %s socket (%d)", family_str, -errno);
        return local_context.sock;
    }

    ret = connect (local_context.sock, (struct sockaddr *) &remote_addr, sizeof (remote_addr));

    if (ret < 0) {
        LOG_ERR ("cannot connect to %s remote (%d): "
                 "%s", family_str, -errno, strerror(errno));

        close (local_context.sock);
        local_context.sock = -1;
        ret = -errno;
        return ret;
    }

    LOG_INF ("socket open [%d] for %s (%d)", local_context.sock, server, -errno);
    local_context.tcp_open = true;
    return ret;
}

// TODO: WS upgrade
int connection::ws_open (const char *server, int port)
{
    if (!local_context.tcp_open)
    {
        int ret = tcp_open (server, port);

        if (ret)
        {
            LOG_ERR ("failed to open websocket (%d): %s", 
                -errno, strerror(errno));

            return -errno;
        }
    }

    static uint8_t tmp_buf [512] = {};
    const char *extra_headers[] = {"Origin: http://foobar\r\n", NULL };
    websocket_request req {};

    req.host = local_context.server.c_str ();
    req.url = "/";
    req.optional_headers = extra_headers;
    req.cb = connect_cb;
    req.tmp_buf = tmp_buf;
    req.tmp_buf_len = sizeof tmp_buf;

    local_context.sock_ws = websocket_connect(local_context.sock, &req, 100, (void *)"IPv4");

    if (local_context.sock_ws < 0) {
        LOG_ERR("Cannot connect to %s:%d", local_context.server.c_str(), local_context.port);
        tcp_close ();
        return local_context.sock;
    }

    local_context.ws_open = true;
    LOG_INF ("websocket open [%d] for %s (%d)", local_context.sock_ws, server, local_context.sock);
    return local_context.sock_ws;
}

void connection::ws_recv
(size_t amount, uint8_t *buf, size_t buf_len)
{
    const char proto[] = "IPv4";

	uint64_t remaining = -1; // wraps to UULONG_MAX
	int total_read;
	uint32_t message_type;
	int ret, read_pos;

	read_pos = 0;
	total_read = 0;

	while (remaining > 0) {
		ret = websocket_recv_msg (
            local_context.sock_ws,
            buf + read_pos, 
            buf_len - read_pos,
            &message_type,
            &remaining, 0
        );

		if (ret < 0) {
			if (ret == -EAGAIN) {
				k_sleep(K_MSEC(50));
				continue;
			}

			LOG_DBG("%s connection closed while "
				"waiting (%d/%d)", proto, ret, errno);
			break;
		}

		read_pos += ret;
		total_read += ret;
	}

	if (remaining != 0)
    {
		LOG_ERR("%s data recv failure %zd/%d bytes (remaining %d)",
			proto, amount, read_pos, remaining);
	} else {
		LOG_DBG("%s recv %d bytes", proto, total_read);
	}
}


int connection::tcp_recv
(size_t amount, uint8_t *buf, size_t buf_len)
{
    const char proto[] = "IPv4";

	int remaining;
	int ret, read_pos;

	remaining = amount;
	read_pos = 0;

	while (remaining > 0) {
		ret = recv(local_context.sock, buf + read_pos, buf_len - read_pos, 0);
		if (ret < 0) {
			if (errno == EAGAIN || errno == ETIMEDOUT) {
				k_sleep(K_MSEC(50));
				continue;
			}
		}

        if (ret == 0)
        {
			LOG_DBG("connection closed while "
				    "waiting (%d/%d)", ret, errno);
			break;
        }

		read_pos += ret;
		remaining -= ret;
	}

	if (remaining != 0 ) {
		LOG_ERR("data recv failure %zd/%d bytes (remaining %d)",
			amount, read_pos, remaining);
	} else {
		LOG_DBG("%s recv %d bytes", proto, read_pos);
	}

    return read_pos;
}

int connection::tcp_recv_all (uint8_t *buf, size_t buf_len) // DONE
{
    const char proto[] = "IPv4";
	int remaining;
	int ret, read_pos;

	remaining = buf_len;
	read_pos = 0;

	while (remaining > 0) {
		ret = recv(local_context.sock, buf + read_pos, buf_len - read_pos, MSG_DONTWAIT);
		if (ret < 0) {
			if (errno == EAGAIN || errno == EWOULDBLOCK) {
                // no data to read, do not block
                break;
			}

            if (errno == ECONNRESET)
            {
			    LOG_DBG("connection closed while waiting (%d/%d)", ret, errno);
                tcp_close ();
                break;
            }

			LOG_DBG("unhandled error (%d/%d)", ret, errno);
            tcp_close ();
            break;

        } else if (ret == 0) {
			LOG_DBG("connection closed while waiting (%d/%d)", ret, errno);
            tcp_close ();
			break;
		}

		read_pos += ret;
		remaining -= ret;
	}

    LOG_DBG("%s recv %d bytes", proto, read_pos);
    return read_pos;
}

void connection::tcp_close ()
{
    close (local_context.sock);
    local_context.sock = -1;
    local_context.tcp_open = false;

    // websocket cannot exist without TCP socket.
    if (local_context.ws_open)
        ws_close ();
}

void connection::ws_close ()
{
    close (local_context.sock_ws);
    local_context.sock_ws = -1;
    local_context.ws_open = false;
}

int connection::tcp_send (void *user_data, size_t data_len)
{
    if (local_context.sock == -1)
    {
        LOG_ERR("tried sending, but socket is not open: %d.", local_context.sock);
        return 0;
    }

    int send_len = send (local_context.sock, user_data, data_len, 0);
    return send_len;
}

ssize_t connection::ws_send (void *user_data, size_t data_len)
{
    ssize_t len = websocket_send_msg (
        local_context.sock_ws, 
        reinterpret_cast<const uint8_t *> (user_data),
        data_len, 
        WEBSOCKET_OPCODE_DATA_TEXT, 
        true, true, SYS_FOREVER_MS
    );

    return len;
}

int connection::ws_recv_all (uint8_t *buf, size_t buf_len)
{
    const char proto[] = "IPv4";

	uint64_t remaining = -1; // wraps to UULONG_MAX
	int total_read;
	uint32_t message_type;
	int ret, read_pos;

	read_pos = 0;
	total_read = 0;

	while (remaining > 0) {
		ret = websocket_recv_msg (
            local_context.sock_ws,
            buf + read_pos, 
            buf_len - read_pos,
            &message_type,
            &remaining, 0
        );

		if (ret < 0) {
			if (ret == -EAGAIN || ret == -EWOULDBLOCK) {
                // no data to read, do not block
                break;
			}

            if (ret == -ENOTCONN)
            {
			    LOG_DBG("connection closed while waiting (%d/%d)", ret, errno);
                tcp_close ();
                break;
            }

			LOG_DBG("unhandled error (%d/%d)", ret, errno);
            tcp_close ();
            break;

        } else if (ret == 0) {
			LOG_DBG("connection closed while waiting (%d/%d)", ret, errno);
            tcp_close ();
			break;
		}
		read_pos += ret;
		total_read += ret;
	}

    LOG_DBG("%s recv %d bytes", proto, total_read);
    return total_read;
}

} // transport
} // sys
```
